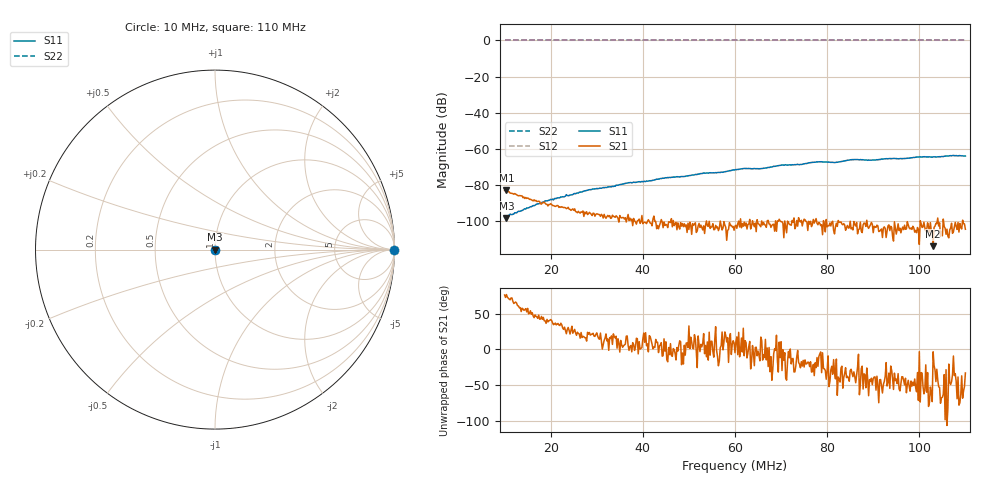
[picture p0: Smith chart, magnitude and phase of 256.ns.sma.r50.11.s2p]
! Anritsu VNA Master:  Model: MS2036C/10/77
! SN:  1601066
! /card0/usr/256.ns.sma.r50.11.s2p
! Existing Calibration Information:
! TYPE:  Current Settings,  Active Cal Settings
! TIME:  12/19/2017 03:38:18 PM,  12/19/2017 03:30:41 PM
! INTERNAL TEMP:  47.8 C,  48.0 C
! # POINTS:  501,  501
! START FREQ:  10.000 MHz,  10.000 MHz
! STOP FREQ:  110.000 MHz,  110.000 MHz
! SOURCE POWER:  High,  High
! IFBW:  100 Hz,  100 Hz
! AVG FACTOR:  1 ,  1
! REF PLANE 1:  0 mm,  0 mm
! REF PLANE 2:  0 mm,  0 mm
! CAL TYPE:  Full S11,  Full S11
! CAL METHOD:  SOLT,  SOLT
! CAL LINE TYPE:  Coax,  Coax
! DUT PORT 1:  N-Conn(F),  N-Conn(F)
! DUT PORT 2:  K-Conn(F),  K-Conn(F)
! CAL STATUS:  OK: Accuracy High,  --
# GHZ S DB R 50.0
! FREQ.GHZ  S11DB  S11A  S21DB  S21A  S12DB  S12A  S22DB  S22A
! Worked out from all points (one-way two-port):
!   501 points, 10 MHz to 110 MHz, reference 50 ohm
!   highest |S21| = -83.13 dB at 10.4 MHz (marker M1); lowest = -114.1 dB at 103 MHz (marker M2)
!   lowest |S11| = -98.4 dB at 10.4 MHz (marker M3), VSWR 1.00, Z = 50 - j0.000305 ohm
!   |S11| at or under -10 dB: start of sweep to end of sweep
!   |S22| runs from 0.0 to 0.0 dB; largest |S21 - S12| = 1
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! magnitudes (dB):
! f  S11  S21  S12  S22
! 10 MHz  -98.0  -83.2  0.0  0.0
! 10.4 MHz  -98.4  -83.1  0.0  0.0
! 26.8 MHz  -84.0  -95.3  0.0  0.0
! 35 MHz  -80.0  -97.1  0.0  0.0
! 41.6 MHz  -77.9  -101.4  0.0  0.0
! 43.4 MHz  -76.9  -104.5  0.0  0.0
! 49 MHz  -75.4  -101.7  0.0  0.0
! 53.4 MHz  -73.6  -107.1  0.0  0.0
! 57.2 MHz  -73.1  -105.1  0.0  0.0
! 60 MHz  -71.7  -103.0  0.0  0.0
! 62.2 MHz  -71.0  -102.8  0.0  0.0
! 65.8 MHz  -71.1  -100.1  0.0  0.0
! 70 MHz  -69.3  -100.5  0.0  0.0
! 74.2 MHz  -68.8  -100.7  0.0  0.0
! 76.8 MHz  -67.6  -102.0  0.0  0.0
! 81.8 MHz  -67.7  -103.4  0.0  0.0
! 85.4 MHz  -66.1  -104.0  0.0  0.0
! 89.6 MHz  -66.4  -101.0  0.0  0.0
! 93.4 MHz  -65.5  -102.3  0.0  0.0
! 103 MHz  -64.5  -114.1  0.0  0.0
! 107 MHz  -64.0  -101.4  0.0  0.0
! 110 MHz  -64.1  -104.7  0.0  0.0
